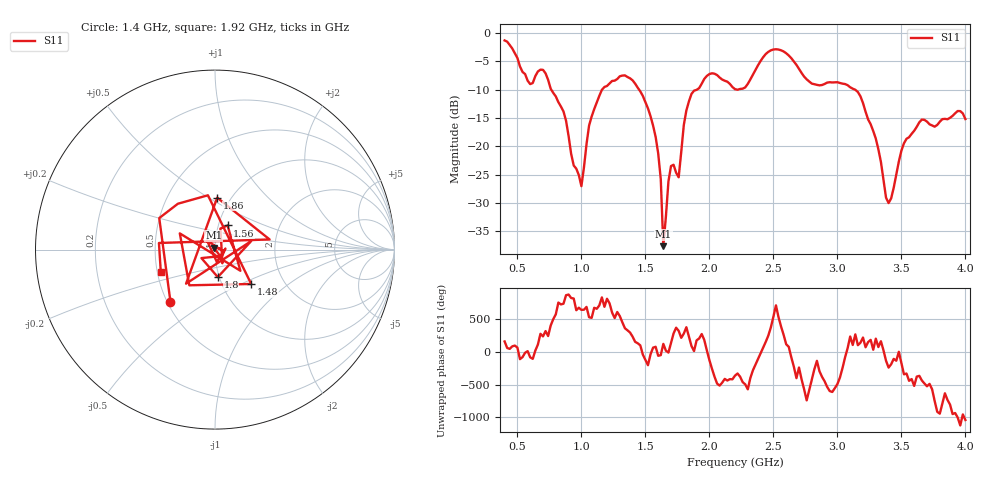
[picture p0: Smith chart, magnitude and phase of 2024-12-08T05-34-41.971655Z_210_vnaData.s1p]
!Created with skrf (http://scikit-rf.org).
# Hz S RI R 50.0
!freq ReS11 ImS11
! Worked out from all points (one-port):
!   181 points, 400 MHz to 4 GHz, reference 50 ohm
!   lowest |S11| = -37.6 dB at 1.64 GHz (marker M1), VSWR 1.03, Z = 49.3 + j1.12 ohm
!   |S11| at or under -10 dB: 764.2 MHz to 1.161 GHz (397 MHz wide, 41.2 % of centre); 1.45 GHz to 1.903 GHz (452.5 MHz wide, 27 % of centre); 3.137 GHz to end of sweep (the widest 3 of 4)
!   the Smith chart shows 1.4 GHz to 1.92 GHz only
!   S11 on the Smith chart (normalised r, x): 1.4 GHz: 0.52, -0.35; 1.48 GHz: 1.37, -0.57; 1.56 GHz: 1.11, +0.31; 1.8 GHz: 0.98, -0.31; 1.86 GHz: 0.86, +0.55; 1.92 GHz: 0.52, -0.14
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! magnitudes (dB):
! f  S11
! 400 MHz  -1.3
! 600 MHz  -9.0
! 700 MHz  -6.5
! 860 MHz  -13.9
! 1 GHz  -27.0
! 1.06 GHz  -16.3
! 1.1 GHz  -13.4
! 1.3 GHz  -7.6
! 1.4 GHz  -8.4
! 1.48 GHz  -11.1
! 1.56 GHz  -16.4
! 1.62 GHz  -25.8
! 1.64 GHz  -37.6
! 1.7 GHz  -23.5
! 1.76 GHz  -25.5
! 1.8 GHz  -16.3
! 1.86 GHz  -10.8
! 1.92 GHz  -9.7
! 2.02 GHz  -7.1
! 2.2 GHz  -9.9
! 2.48 GHz  -3.1
! 2.66 GHz  -5.0
! 2.8 GHz  -8.9
! 3.1 GHz  -9.6
! 3.3 GHz  -18.6
! 3.4 GHz  -30.0
! 3.56 GHz  -18.4
! 4 GHz  -15.2
